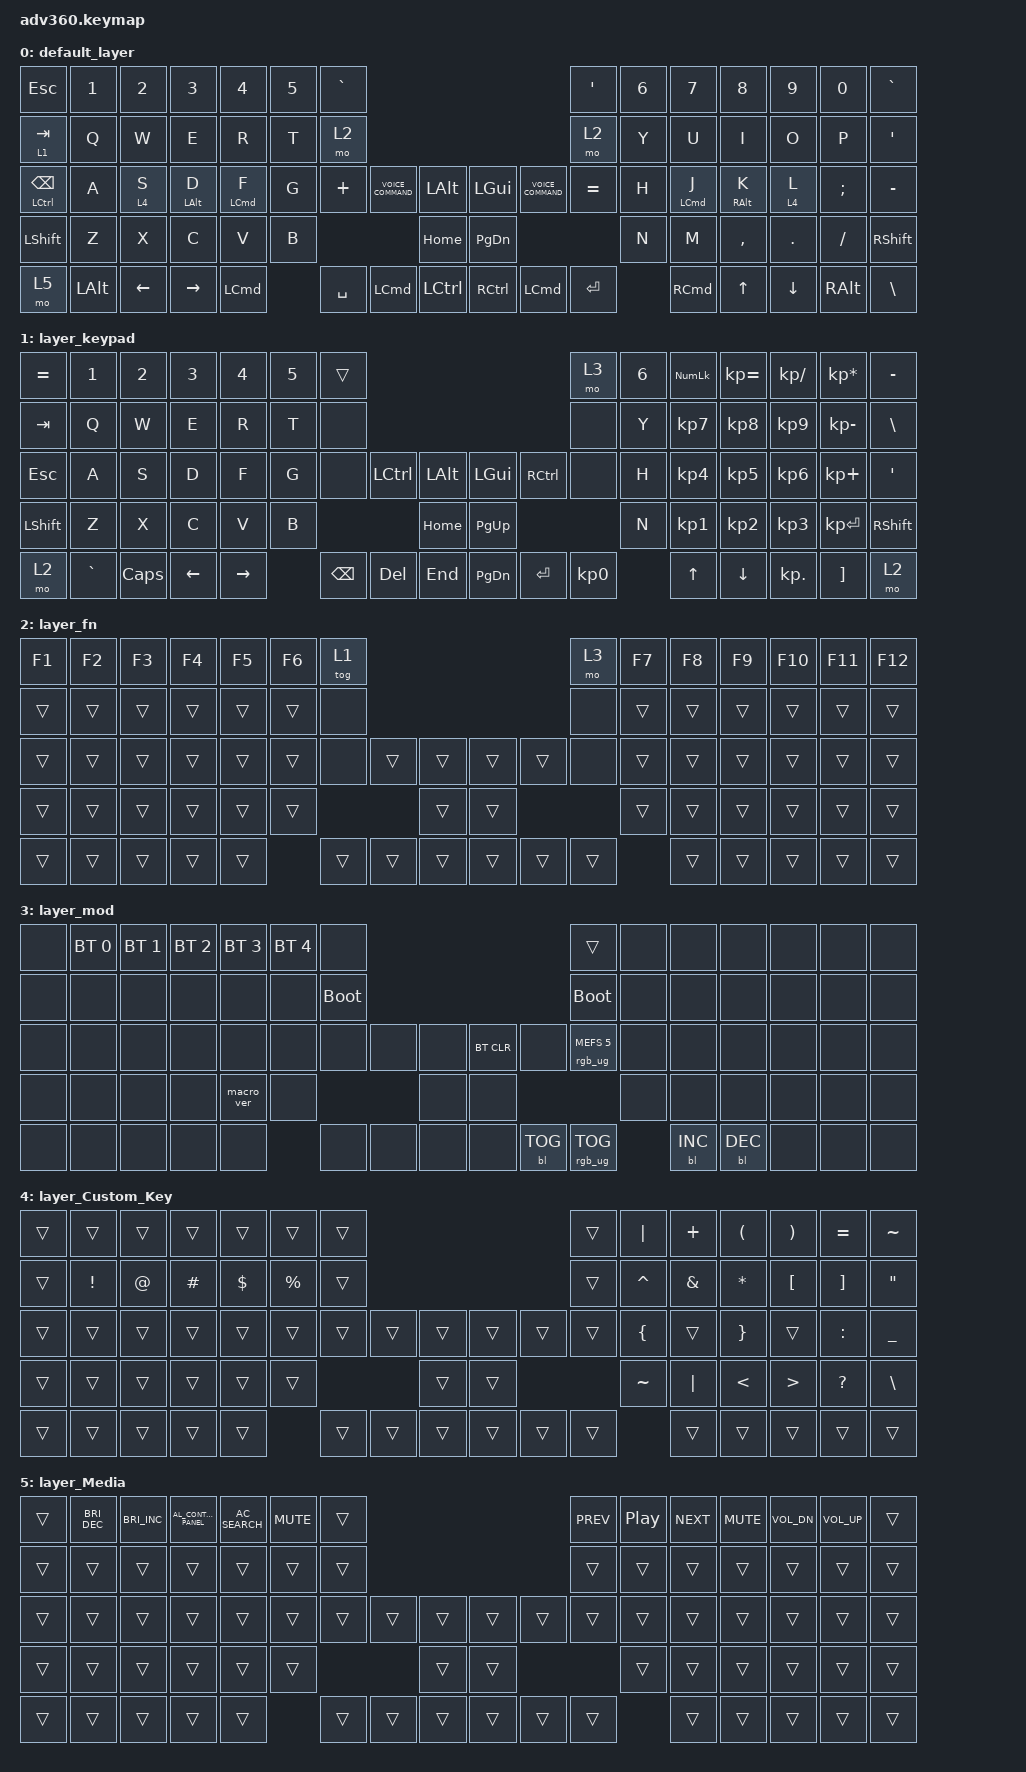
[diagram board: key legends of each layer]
/*
 * Copyright (c) 2020 The ZMK Contributors
 *
 * SPDX-License-Identifier: MIT
 */
/* THIS FILE WAS GENERATED!
 *
 * This file was generated automatically. You may or may not want to
 * edit it directly.
 */

#include <behaviors.dtsi>
#include <dt-bindings/zmk/backlight.h>
#include <dt-bindings/zmk/bt.h>
#include <dt-bindings/zmk/keys.h>
#include <dt-bindings/zmk/rgb.h>

&lt {
    require-prior-idle-ms = <100>;
    quick-tap-ms = <125>;
    tapping-term-ms = <250>;
};

/ {
    behaviors {
        #include "macros.dtsi"
    #include "version.dtsi"

        hm: homerow_mods {
            compatible = "zmk,behavior-hold-tap";
            label = "HOMEROW_MODS";
            #binding-cells = <2>;
            tapping-term-ms = <250>;
            flavor = "tap-preferred";
            bindings = <&kp>, <&kp>;

            quick-tap-ms = <125>;
            require-prior-idle-ms = <100>;
        };
    };

    keymap {
        compatible = "zmk,keymap";

        default_layer {
            bindings = <
&kp ESC                     &kp N1        &kp N2    &kp N3          &kp N4              &kp N5  &kp GRAVE                                                                                     &kp SINGLE_QUOTE  &kp N6  &kp N7              &kp N8           &kp N9    &kp N0         &kp GRAVE
&lt 1 TAB                   &kp Q         &kp W     &kp E           &kp R               &kp T   &mo 2                                                                                         &mo 2             &kp Y   &kp U               &kp I            &kp O     &kp P          &kp SINGLE_QUOTE
&hm LEFT_CONTROL BACKSPACE  &kp A         &lt 4 S   &hm LEFT_ALT D  &hm LEFT_COMMAND F  &kp G   &kp PLUS   &kp C_VOICE_COMMAND  &kp LALT              &kp LGUI           &kp C_VOICE_COMMAND  &kp EQUAL         &kp H   &hm LEFT_COMMAND J  &hm RIGHT_ALT K  &lt 4 L   &kp SEMI       &kp MINUS
&kp LSHFT                   &kp Z         &kp X     &kp C           &kp V               &kp B                                   &kp HOME              &kp PAGE_DOWN                                             &kp N   &kp M               &kp COMMA        &kp DOT   &kp FSLH       &kp RSHFT
&mo 5                       &kp LEFT_ALT  &kp LEFT  &kp RIGHT       &kp LEFT_COMMAND            &kp SPACE  &kp LEFT_COMMAND     &kp LEFT_CONTROL      &kp RIGHT_CONTROL  &kp LEFT_COMMAND     &kp ENTER                 &kp RIGHT_COMMAND   &kp UP           &kp DOWN  &kp RIGHT_ALT  &kp BACKSLASH
            >;
        };

        layer_keypad {
            bindings = <
&kp EQUAL  &kp N1     &kp N2    &kp N3    &kp N4     &kp N5  &trans                                                   &mo 3      &kp N6  &kp KP_NUM  &kp KP_EQUAL  &kp KP_DIVIDE  &kp KP_MULTIPLY  &kp MINUS
&kp TAB    &kp Q      &kp W     &kp E     &kp R      &kp T   &none                                                    &none      &kp Y   &kp KP_N7   &kp KP_N8     &kp KP_N9      &kp KP_MINUS     &kp BSLH
&kp ESC    &kp A      &kp S     &kp D     &kp F      &kp G   &none     &kp LCTRL  &kp LALT      &kp LGUI   &kp RCTRL  &none      &kp H   &kp KP_N4   &kp KP_N5     &kp KP_N6      &kp KP_PLUS      &kp SQT
&kp LSHFT  &kp Z      &kp X     &kp C     &kp V      &kp B                        &kp HOME      &kp PG_UP                        &kp N   &kp KP_N1   &kp KP_N2     &kp KP_N3      &kp KP_ENTER     &kp RSHFT
&mo 2      &kp GRAVE  &kp CAPS  &kp LEFT  &kp RIGHT          &kp BSPC  &kp DEL    &kp END       &kp PG_DN  &kp ENTER  &kp KP_N0          &kp UP      &kp DOWN      &kp KP_DOT     &kp RBKT         &mo 2
            >;
        };

        layer_fn {
            bindings = <
&kp F1  &kp F2  &kp F3  &kp F4  &kp F5  &kp F6  &tog 1                                      &mo 3   &kp F7  &kp F8  &kp F9  &kp F10  &kp F11  &kp F12
&trans  &trans  &trans  &trans  &trans  &trans  &none                                       &none   &trans  &trans  &trans  &trans   &trans   &trans
&trans  &trans  &trans  &trans  &trans  &trans  &none   &trans  &trans      &trans  &trans  &none   &trans  &trans  &trans  &trans   &trans   &trans
&trans  &trans  &trans  &trans  &trans  &trans                  &trans      &trans                  &trans  &trans  &trans  &trans   &trans   &trans
&trans  &trans  &trans  &trans  &trans          &trans  &trans  &trans      &trans  &trans  &trans          &trans  &trans  &trans   &trans   &trans
            >;
        };

        layer_mod {
            bindings = <
&none  &bt BT_SEL 0  &bt BT_SEL 1  &bt BT_SEL 2  &bt BT_SEL 3  &bt BT_SEL 4  &none                                                  &trans                  &none  &none       &none       &none  &none  &none
&none  &none         &none         &none         &none         &none         &bootloader                                            &bootloader             &none  &none       &none       &none  &none  &none
&none  &none         &none         &none         &none         &none         &none        &none  &none      &bt BT_CLR  &none       &rgb_ug RGB_MEFS_CMD 5  &none  &none       &none       &none  &none  &none
&none  &none         &none         &none         &macro_ver    &none                             &none      &none                                           &none  &none       &none       &none  &none  &none
&none  &none         &none         &none         &none                       &none        &none  &none      &none       &bl BL_TOG  &rgb_ug RGB_TOG                &bl BL_INC  &bl BL_DEC  &none  &none  &none
            >;
        };

        layer_Custom_Key {
            bindings = <
&trans  &trans           &trans  &trans     &trans      &trans       &trans                                      &trans  &kp PIPE        &kp PLUS       &kp LEFT_PARENTHESIS  &kp RIGHT_PARENTHESIS  &kp EQUAL          &kp TILDE
&trans  &kp EXCLAMATION  &kp AT  &kp POUND  &kp DOLLAR  &kp PERCENT  &trans                                      &trans  &kp CARET       &kp AMPERSAND  &kp ASTERISK          &kp LEFT_BRACKET       &kp RIGHT_BRACKET  &kp DOUBLE_QUOTES
&trans  &trans           &trans  &trans     &trans      &trans       &trans  &trans  &trans      &trans  &trans  &trans  &kp LEFT_BRACE  &trans         &kp RIGHT_BRACE       &trans                 &kp COLON          &kp UNDERSCORE
&trans  &trans           &trans  &trans     &trans      &trans                       &trans      &trans                  &kp TILDE       &kp PIPE       &kp LESS_THAN         &kp GREATER_THAN       &kp QUESTION       &kp BACKSLASH
&trans  &trans           &trans  &trans     &trans                   &trans  &trans  &trans      &trans  &trans  &trans                  &trans         &trans                &trans                 &trans             &trans
            >;
        };

        layer_Media {
            bindings = <
&trans  &kp C_BRIGHTNESS_DEC  &kp C_BRIGHTNESS_INC  &kp C_AL_CONTROL_PANEL  &kp C_AC_SEARCH  &kp C_MUTE  &trans                                      &kp C_PREV  &kp C_PLAY_PAUSE  &kp C_NEXT  &kp C_MUTE  &kp C_VOL_DN  &kp C_VOLUME_UP  &trans
&trans  &trans                &trans                &trans                  &trans           &trans      &trans                                      &trans      &trans            &trans      &trans      &trans        &trans           &trans
&trans  &trans                &trans                &trans                  &trans           &trans      &trans  &trans  &trans      &trans  &trans  &trans      &trans            &trans      &trans      &trans        &trans           &trans
&trans  &trans                &trans                &trans                  &trans           &trans                      &trans      &trans                      &trans            &trans      &trans      &trans        &trans           &trans
&trans  &trans                &trans                &trans                  &trans                       &trans  &trans  &trans      &trans  &trans  &trans                        &trans      &trans      &trans        &trans           &trans
            >;
        };
    };
};
